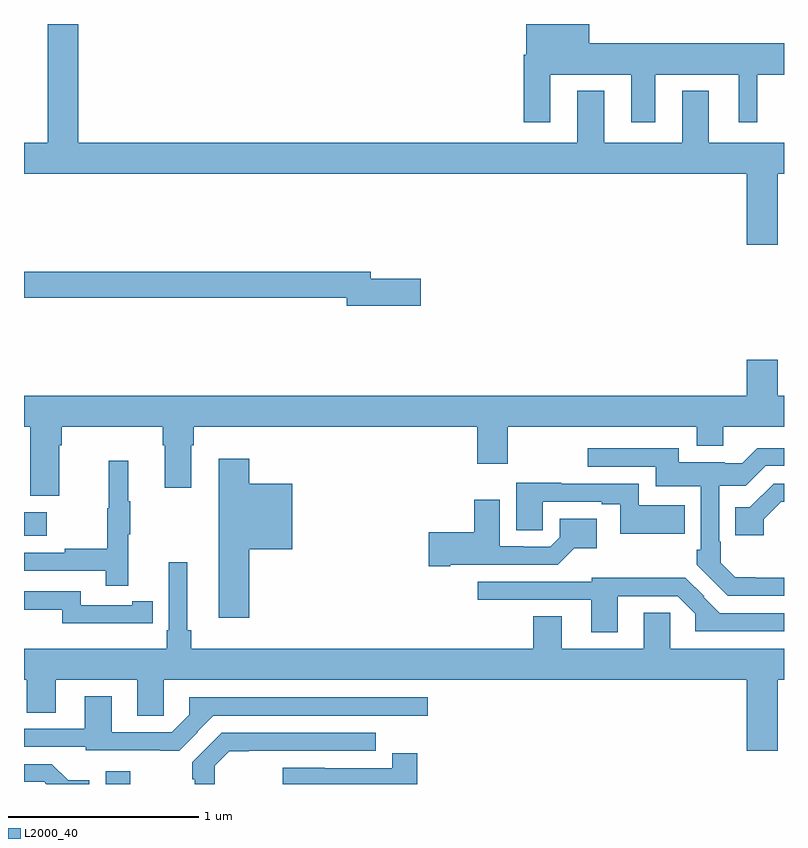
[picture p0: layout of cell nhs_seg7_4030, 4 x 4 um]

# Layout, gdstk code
import gdstk
lib = gdstk.Library(unit=1e-6, precision=1e-09)
def R(c, l, rs):  # rectangles x0, y0, x1, y1
    for r in rs: c.add(gdstk.rectangle(r[:2], r[2:], *l))
def P(c, l, *ps):  # polygons
    for p in ps: c.add(gdstk.Polygon(p, *l))
L2000_40 = (2000, 40)

nhs_seg7_4030 = lib.new_cell('nhs_seg7_4030')
R(nhs_seg7_4030, L2000_40, [(365.429,1068,365.559,1068.067), (365,1069.307,365.119,1069.429)])
P(nhs_seg7_4030, L2000_40, [(368.968,1071.212),(369,1071.212),(369,1071.376),(368.605,1071.376),(368.605,1071.649),(368.465,1071.649),(368.465,1071.376),(368.053,1071.376),(368.053,1071.649),(367.913,1071.649),(367.913,1071.376),(365.285,1071.376),(365.285,1072),(365.125,1072),(365.125,1071.376),(365,1071.376),(365,1071.212),(368.804,1071.212),(368.804,1070.838),(368.968,1070.838)],
  [(367.771,1071.734),(368.195,1071.734),(368.195,1071.483),(368.323,1071.483),(368.323,1071.734),(368.762,1071.734),(368.762,1071.483),(368.86,1071.483),(368.86,1071.734),(369,1071.734),(369,1071.898),(367.975,1071.898),(367.975,1072),(367.643,1072),(367.643,1071.838),(367.631,1071.838),(367.631,1071.483),(367.771,1071.483)],
  [(367.087,1070.66),(366.826,1070.66),(366.826,1070.696),(365,1070.696),(365,1070.56),(366.698,1070.56),(366.698,1070.518),(367.087,1070.518)],
  [(365.185,1069.784),(365.198,1069.784),(365.198,1069.88),(365.729,1069.88),(365.729,1069.784),(365.741,1069.784),(365.741,1069.56),(365.881,1069.56),(365.881,1069.784),(365.894,1069.784),(365.894,1069.88),(367.385,1069.88),(367.385,1069.686),(367.545,1069.686),(367.545,1069.88),(368.54,1069.88),(368.54,1069.781),(368.68,1069.781),(368.68,1069.88),(369,1069.88),(369,1070.044),(368.968,1070.044),(368.968,1070.233),(368.804,1070.233),(368.804,1070.044),(365,1070.044),(365,1069.88),(365.033,1069.88),(365.033,1069.518),(365.185,1069.518)],
  [(369,1069.086),(368.848,1069.086),(368.848,1069.089),(368.744,1069.089),(368.668,1069.164),(368.668,1069.276),(368.658,1069.276),(368.658,1069.569),(368.799,1069.569),(368.904,1069.674),(369,1069.674),(369,1069.768),(368.86,1069.768),(368.781,1069.689),(368.687,1069.689),(368.687,1069.693),(368.446,1069.693),(368.446,1069.767),(367.968,1069.767),(367.968,1069.671),(368.324,1069.671),(368.324,1069.568),(368.562,1069.568),(368.562,1069.234),(368.542,1069.234),(368.542,1069.153),(368.705,1068.99),(369,1068.99)],
  [(366.185,1069.235),(366.412,1069.235),(366.412,1069.579),(366.185,1069.579),(366.185,1069.711),(366.026,1069.711),(366.026,1068.876),(366.185,1068.876)],
  [(365.549,1069.315),(365.56,1069.315),(365.56,1069.489),(365.549,1069.489),(365.549,1069.702),(365.446,1069.702),(365.446,1069.452),(365.439,1069.452),(365.439,1069.238),(365.215,1069.238),(365.215,1069.218),(365,1069.218),(365,1069.122),(365.431,1069.122),(365.431,1069.044),(365.549,1069.044)],
  [(368.477,1069.468),(368.235,1069.468),(368.235,1069.581),(367.828,1069.581),(367.828,1069.586),(367.592,1069.586),(367.592,1069.336),(367.731,1069.336),(367.731,1069.485),(368.042,1069.485),(368.042,1069.473),(368.139,1069.473),(368.139,1069.316),(368.477,1069.316)],
  [(368.893,1069.393),(368.985,1069.485),(369,1069.485),(369,1069.581),(368.945,1069.581),(368.82,1069.456),(368.743,1069.456),(368.743,1069.308),(368.893,1069.308)],
  [(367.243,1069.155),(367.81,1069.155),(367.896,1069.241),(368.014,1069.241),(368.014,1069.396),(367.821,1069.396),(367.821,1069.299),(367.77,1069.248),(367.628,1069.248),(367.628,1069.251),(367.504,1069.251),(367.504,1069.495),(367.37,1069.495),(367.37,1069.325),(367.131,1069.325),(367.131,1069.147),(367.243,1069.147)],
  [(368.968,1068.548),(369,1068.548),(369,1068.712),(368.4,1068.712),(368.4,1068.902),(368.261,1068.902),(368.261,1068.712),(367.831,1068.712),(367.831,1068.884),(367.679,1068.884),(367.679,1068.712),(365.879,1068.712),(365.879,1068.808),(365.86,1068.808),(365.86,1069.168),(365.763,1069.168),(365.763,1068.808),(365.75,1068.808),(365.75,1068.712),(365,1068.712),(365,1068.548),(365.015,1068.548),(365.015,1068.376),(365.167,1068.376),(365.167,1068.548),(365.597,1068.548),(365.597,1068.358),(365.736,1068.358),(365.736,1068.548),(368.804,1068.548),(368.804,1068.174),(368.968,1068.174)],
  [(368.125,1068.987),(368.442,1068.987),(368.533,1068.897),(368.533,1068.804),(369,1068.804),(369,1068.9),(368.661,1068.9),(368.576,1068.985),(368.579,1068.988),(368.481,1069.086),(367.989,1069.086),(367.989,1069.065),(367.389,1069.065),(367.389,1068.969),(367.985,1068.969),(367.985,1068.798),(368.125,1068.798)],
  [(365.57,1068.846),(365.678,1068.846),(365.678,1068.962),(365.57,1068.962),(365.57,1068.942),(365.298,1068.942),(365.298,1069.014),(365,1069.014),(365,1068.918),(365.202,1068.918),(365.202,1068.845),(365.57,1068.845)],
  [(365.915,1068.272),(365.912,1068.275),(365.997,1068.36),(367.126,1068.36),(367.126,1068.456),(365.869,1068.456),(365.869,1068.364),(365.778,1068.273),(365.461,1068.273),(365.461,1068.463),(365.321,1068.463),(365.321,1068.291),(365,1068.291),(365,1068.195),(365.325,1068.195),(365.325,1068.177),(365.717,1068.177),(365.717,1068.175),(365.817,1068.175)],
  [(366.004,1068.096),(366.08,1068.172),(366.184,1068.172),(366.184,1068.174),(366.85,1068.174),(366.85,1068.27),(366.041,1068.27),(365.886,1068.115),(365.886,1068.026),(365.898,1068.026),(365.898,1068),(366.004,1068)],
  [(367.069,1068.163),(366.938,1068.163),(366.938,1068.084),(366.584,1068.084),(366.584,1068.085),(366.362,1068.085),(366.362,1068),(367.069,1068)],
  [(365.344,1068.019),(365.232,1068.019),(365.146,1068.105),(365,1068.105),(365,1068.012),(365.106,1068.012),(365.118,1068),(365.344,1068)])

lib.write_gds('nhs_seg7_4030.gds')
